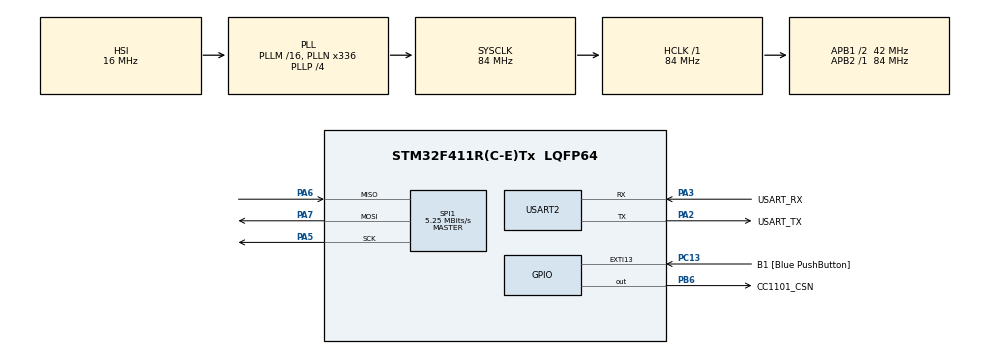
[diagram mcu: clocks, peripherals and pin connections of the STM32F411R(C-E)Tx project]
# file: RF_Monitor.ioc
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Mcu.Family=STM32F4
Mcu.Name=STM32F411R(C-E)Tx
Mcu.Package=LQFP64
NVIC.PriorityGroup=NVIC_PRIORITYGROUP_0
PA13.GPIO_Label=TMS
PA13.Mode=Serial_Wire
PA13.Signal=SYS_JTMS-SWDIO
PA14.GPIO_Label=TCK
PA14.Mode=Serial_Wire
PA14.Signal=SYS_JTCK-SWCLK
PA2.GPIO_Label=USART_TX
PA2.Mode=Asynchronous
PA2.Signal=USART2_TX
PA3.GPIO_Label=USART_RX
PA3.Mode=Asynchronous
PA3.Signal=USART2_RX
PA5.Mode=Full_Duplex_Master
PA5.Signal=SPI1_SCK
PA6.Mode=Full_Duplex_Master
PA6.Signal=SPI1_MISO
PA7.Mode=Full_Duplex_Master
PA7.Signal=SPI1_MOSI
PB3.GPIO_Label=SWO
PB3.Signal=SYS_JTDO-SWO
PB6.GPIO_Label=CC1101_CSN
PB6.PinState=GPIO_PIN_SET
PB6.Signal=GPIO_Output
PC13-ANTI_TAMP.GPIO_Label=B1 [Blue PushButton]
PC13-ANTI_TAMP.GPIO_ModeDefaultEXTI=GPIO_MODE_IT_FALLING
PC13-ANTI_TAMP.Signal=GPXTI13
PC14-OSC32_IN.Mode=LSE-External-Oscillator
PC14-OSC32_IN.Signal=RCC_OSC32_IN
PC15-OSC32_OUT.Mode=LSE-External-Oscillator
PC15-OSC32_OUT.Signal=RCC_OSC32_OUT
PH0\ -\ OSC_IN.Mode=HSE-External-Clock-Source
PH0\ -\ OSC_IN.Signal=RCC_OSC_IN
PH1\ -\ OSC_OUT.Mode=HSE-External-Clock-Source
PH1\ -\ OSC_OUT.Signal=RCC_OSC_OUT
ProjectManager.HeapSize=0x200
ProjectManager.StackSize=0x400
ProjectManager.TargetToolchain=CMake
RCC.48MHZClocksFreq_Value=84000000
RCC.AHBFreq_Value=84000000
RCC.APB1CLKDivider=RCC_HCLK_DIV2
RCC.APB1Freq_Value=42000000
RCC.APB1TimFreq_Value=84000000
RCC.APB2Freq_Value=84000000
RCC.APB2TimFreq_Value=84000000
RCC.CortexFreq_Value=84000000
RCC.FLatency-AdvancedSettings=FLASH_LATENCY_2
RCC.HCLKFreq_Value=84000000
RCC.HSE_VALUE=8000000
RCC.HSI_VALUE=16000000
RCC.PLLN=336
RCC.PLLP=RCC_PLLP_DIV4
RCC.SYSCLKFreq_VALUE=84000000
RCC.SYSCLKSource=RCC_SYSCLKSOURCE_PLLCLK
RCC.VCOOutputFreq_Value=336000000
SPI1.BaudRatePrescaler=SPI_BAUDRATEPRESCALER_16
SPI1.CalculateBaudRate=5.25 MBits/s
SPI1.Direction=SPI_DIRECTION_2LINES
SPI1.Mode=SPI_MODE_MASTER
SPI1.VirtualType=VM_MASTER
USART2.VirtualMode=VM_ASYNC
board=NUCLEO-F411RE

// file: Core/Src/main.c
/* USER CODE BEGIN Header */
/**
  ******************************************************************************
  * @file           : main.c
  * @brief          : Main program body
  ******************************************************************************
  * @attention
  *
  * Copyright (c) 2026 STMicroelectronics.
  * All rights reserved.
  *
  * This software is licensed under terms that can be found in the LICENSE file
  * in the root directory of this software component.
  * If no LICENSE file comes with this software, it is provided AS-IS.
  *
  ******************************************************************************
  */
/* USER CODE END Header */
#include "main.h"

/* USER CODE BEGIN Includes */
#include "cc1101.h"
#include <stdio.h>
#include <string.h>
/* USER CODE END Includes */

/* USER CODE BEGIN PD */
/* CC1101 modem registers used by the RSSI receiver test. */
#define CC1101_FSCTRL1       0x0BU
#define CC1101_MDMCFG4       0x10U
#define CC1101_MDMCFG3       0x11U
#define CC1101_MDMCFG2       0x12U
#define CC1101_DEVIATN       0x15U
/* USER CODE END PD */

SPI_HandleTypeDef hspi1;

UART_HandleTypeDef huart2;

void SystemClock_Config(void);
static void MX_GPIO_Init(void);
static void MX_USART2_UART_Init(void);
static void MX_SPI1_Init(void);

int main(void)
{

  /* MCU Configuration--------------------------------------------------------*/

  /* Reset of all peripherals, Initializes the Flash interface and the Systick. */
  HAL_Init();

  /* Configure the system clock */
  SystemClock_Config();

  /* Initialize all configured peripherals */
  MX_GPIO_Init();
  MX_USART2_UART_Init();
  MX_SPI1_Init();
  /* USER CODE BEGIN 2 */

static const uint8_t uart_banner[] =
    "\r\nUART2 ready at 115200 8-N-1\r\n";

HAL_UART_Transmit(
    &huart2,
    (uint8_t *)uart_banner, // Address of the message
    sizeof(uart_banner) - 1U, // Minus 1 to exclude the null terminator
    HAL_MAX_DELAY
);

// Report Buffer
char message[320];

uint8_t part_number = 0;
uint8_t version = 0;
uint8_t packet_length_before = 0;
uint8_t packet_length_after = 0;
uint8_t packet_length_restored = 0;

HAL_StatusTypeDef reset_result;
HAL_StatusTypeDef part_result;
HAL_StatusTypeDef version_result;
HAL_StatusTypeDef write_result;

reset_result = CC1101_Reset(&hspi1);

part_result = CC1101_ReadStatusRegister(
    &hspi1,
    CC1101_PARTNUM,
    &part_number
);

version_result = CC1101_ReadStatusRegister(
    &hspi1,
    CC1101_VERSION,
    &version
);

/* Verify ordinary register reading and writing. */

CC1101_ReadRegister(
    &hspi1,
    CC1101_PKTLEN,
    &packet_length_before
);

write_result = CC1101_WriteRegister(
    &hspi1,
    CC1101_PKTLEN,
    0xA5
);

CC1101_ReadRegister(
    &hspi1,
    CC1101_PKTLEN,
    &packet_length_after
);

/* Restore the reset value. */

CC1101_WriteRegister(
    &hspi1,
    CC1101_PKTLEN,
    packet_length_before
);

CC1101_ReadRegister(
    &hspi1,
    CC1101_PKTLEN,
    &packet_length_restored
);

int length = snprintf(
    message,
    sizeof(message),
    "\r\nCC1101 connection test\r\n"
    "Reset status: %d\r\n"
    "PARTNUM status: %d, value: 0x%02X\r\n"
    "VERSION status: %d, value: 0x%02X\r\n"
    "PKTLEN before: 0x%02X\r\n"
    "PKTLEN written: 0x%02X\r\n"
    "PKTLEN restored: 0x%02X\r\n"
    "Write status: %d\r\n",
    reset_result,
    part_result,
    part_number,
    version_result,
    version,
    packet_length_before,
    packet_length_after,
    packet_length_restored,
    write_result
);

if (length > 0)
{
    uint16_t transmit_length =
        (length < (int)sizeof(message))
            ? (uint16_t)length
            : (uint16_t)(sizeof(message) - 1U);

    HAL_UART_Transmit(
        &huart2,
        (uint8_t *)message,
        transmit_length,
        HAL_MAX_DELAY
    );
}
// Configure the CC1101 carrier frequency for approximately 433.92 MHz. These values assume a 26 MHz CC1101 crystal.
// Frequency = FREQ × 26 MHz / 2^16
// FREQ word = 0x10B071
HAL_StatusTypeDef receiver_result =
    CC1101_WriteRegister(
        &hspi1,
        CC1101_FREQ2,
        0x10
    );

if (receiver_result == HAL_OK)
{
    receiver_result = CC1101_WriteRegister(
        &hspi1,
        CC1101_FREQ1,
        0xB0
    );
}

if (receiver_result == HAL_OK)
{
    receiver_result = CC1101_WriteRegister(
        &hspi1,
        CC1101_FREQ0,
        0x71
    );
}

/* Match the ESP32 test transmitter's 4.8-kBaud 2-FSK settings. */
if (receiver_result == HAL_OK)
{
    receiver_result = CC1101_WriteRegister(
        &hspi1,
        CC1101_FSCTRL1,
        0x06
    );
}

if (receiver_result == HAL_OK)
{
    receiver_result = CC1101_WriteRegister(
        &hspi1,
        CC1101_MDMCFG4,
        0xA7
    );
}

if (receiver_result == HAL_OK)
{
    receiver_result = CC1101_WriteRegister(
        &hspi1,
        CC1101_MDMCFG3,
        0x83
    );
}

if (receiver_result == HAL_OK)
{
    receiver_result = CC1101_WriteRegister(
        &hspi1,
        CC1101_MDMCFG2,
        0x03
    );
}

if (receiver_result == HAL_OK)
{
    receiver_result = CC1101_WriteRegister(
        &hspi1,
        CC1101_DEVIATN,
        0x15
    );
}

// Stage 2 only measures RSSI. Use asynchronous serial mode so the packet handler and RX FIFO cannot fill with noise or unwanted packets
uint8_t packet_control = 0;

if (receiver_result == HAL_OK)
{
    receiver_result = CC1101_ReadRegister(
        &hspi1,
        CC1101_PKTCTRL0,
        &packet_control
    );
}

if (receiver_result == HAL_OK)
{
    packet_control = (packet_control & (uint8_t) ~CC1101_PKT_FORMAT_MASK) | CC1101_PKT_FORMAT_ASYNC;

    receiver_result = CC1101_WriteRegister(
        &hspi1,
        CC1101_PKTCTRL0,
        packet_control
    );
}

// Enter receive mode
if (receiver_result == HAL_OK)
{
    receiver_result = CC1101_Strobe(
        &hspi1,
        CC1101_SRX
    );
}

//Allow calibration and receiver settling
HAL_Delay(5);

int receiver_length = snprintf(
    message,
    sizeof(message),
    "433.92 MHz receiver configuration status: %d\r\n",
    receiver_result
);

if (receiver_length > 0)
{
    uint16_t receiver_transmit_length =
        receiver_length < (int)sizeof(message)
            ? (uint16_t)receiver_length
            : (uint16_t)(sizeof(message) - 1U);

    HAL_UART_Transmit(
        &huart2,
        (uint8_t *)message,
        receiver_transmit_length,
        HAL_MAX_DELAY
    );
}

  /* USER CODE END 2 */

  /* Infinite loop */
  while (1)
  {

    /* USER CODE BEGIN 3 */
    if (receiver_result == HAL_OK)
    {
        int16_t minimum_rssi_dbm = 0;
        int16_t peak_rssi_dbm = -200;
        uint8_t peak_rssi_raw = 0;
        uint8_t marcstate = 0;
        HAL_StatusTypeDef sample_result = HAL_OK;

        /*
         * Sample continuously for approximately 250 ms and report the peak.
         * This prevents a short RF packet from being missed between UART
         * print intervals.
         */
        for (uint16_t sample = 0; sample < 125; sample++)
        {
            uint8_t rssi_raw = 0;

            sample_result = CC1101_ReadStatusRegister(
                &hspi1,
                CC1101_RSSI,
                &rssi_raw
            );

            if (sample_result != HAL_OK)
            {
                break;
            }

            int16_t rssi_dbm =
                ((int16_t)(int8_t)rssi_raw / 2) - 74;

            if (sample == 0 || rssi_dbm < minimum_rssi_dbm)
            {
                minimum_rssi_dbm = rssi_dbm;
            }

            if (rssi_dbm > peak_rssi_dbm)
            {
                peak_rssi_dbm = rssi_dbm;
                peak_rssi_raw = rssi_raw;
            }

            HAL_Delay(2);
        }

        HAL_StatusTypeDef state_result =
            CC1101_ReadStatusRegister(
                &hspi1,
                CC1101_MARCSTATE,
                &marcstate
            );

        /* Only bits 4:0 contain the radio state. */
        marcstate &= 0x1FU;

        if (state_result == HAL_OK &&
            (marcstate == CC1101_STATE_IDLE ||
             marcstate == CC1101_STATE_RXFIFO_OVERFLOW))
        {
            HAL_StatusTypeDef recovery_result =
                CC1101_Strobe(
                    &hspi1,
                    CC1101_SFRX
                );

            if (recovery_result == HAL_OK)
            {
                recovery_result = CC1101_Strobe(
                    &hspi1,
                    CC1101_SRX
                );
            }

            HAL_Delay(5);
        }

        if (sample_result == HAL_OK &&
            state_result == HAL_OK)
        {
            char rssi_message[128];

            int rssi_length = snprintf(
                rssi_message,
                sizeof(rssi_message),
                "RSSI window: min %d dBm, peak %d dBm "
                "(raw 0x%02X), MARCSTATE 0x%02X%s\r\n",
                (int)minimum_rssi_dbm,
                (int)peak_rssi_dbm,
                (unsigned int)peak_rssi_raw,
                (unsigned int)marcstate,
                marcstate == CC1101_STATE_RX ? " (RX)" : " (NOT RX)"
            );

            if (rssi_length > 0)
            {
                uint16_t rssi_transmit_length =
                    rssi_length < (int)sizeof(rssi_message)
                        ? (uint16_t)rssi_length
                        : (uint16_t)(sizeof(rssi_message) - 1U);

                HAL_UART_Transmit(
                    &huart2,
                    (uint8_t *)rssi_message,
                    rssi_transmit_length,
                    HAL_MAX_DELAY
                );
            }
        }
        else
        {
            static const uint8_t read_error[] =
                "RSSI or MARCSTATE read failed\r\n";

            HAL_UART_Transmit(
                &huart2,
                (uint8_t *)read_error,
                sizeof(read_error) - 1U,
                HAL_MAX_DELAY
            );
        }
    }
  }
  /* USER CODE END 3 */
}
void SystemClock_Config(void)
{
  RCC_OscInitTypeDef RCC_OscInitStruct = {0};
  RCC_ClkInitTypeDef RCC_ClkInitStruct = {0};

  /** Configure the main internal regulator output voltage
  */
  __HAL_RCC_PWR_CLK_ENABLE();
  __HAL_PWR_VOLTAGESCALING_CONFIG(PWR_REGULATOR_VOLTAGE_SCALE1);

  /** Initializes the RCC Oscillators according to the specified parameters
  * in the RCC_OscInitTypeDef structure.
  */
  RCC_OscInitStruct.OscillatorType = RCC_OSCILLATORTYPE_HSI;
  RCC_OscInitStruct.HSIState = RCC_HSI_ON;
  RCC_OscInitStruct.HSICalibrationValue = RCC_HSICALIBRATION_DEFAULT;
  RCC_OscInitStruct.PLL.PLLState = RCC_PLL_ON;
  RCC_OscInitStruct.PLL.PLLSource = RCC_PLLSOURCE_HSI;
  RCC_OscInitStruct.PLL.PLLM = 16;
  RCC_OscInitStruct.PLL.PLLN = 336;
  RCC_OscInitStruct.PLL.PLLP = RCC_PLLP_DIV4;
  RCC_OscInitStruct.PLL.PLLQ = 4;
  if (HAL_RCC_OscConfig(&RCC_OscInitStruct) != HAL_OK)
  {
    Error_Handler();
  }

  /** Initializes the CPU, AHB and APB buses clocks
  */
  RCC_ClkInitStruct.ClockType = RCC_CLOCKTYPE_HCLK|RCC_CLOCKTYPE_SYSCLK
                              |RCC_CLOCKTYPE_PCLK1|RCC_CLOCKTYPE_PCLK2;
  RCC_ClkInitStruct.SYSCLKSource = RCC_SYSCLKSOURCE_PLLCLK;
  RCC_ClkInitStruct.AHBCLKDivider = RCC_SYSCLK_DIV1;
  RCC_ClkInitStruct.APB1CLKDivider = RCC_HCLK_DIV2;
  RCC_ClkInitStruct.APB2CLKDivider = RCC_HCLK_DIV1;

  if (HAL_RCC_ClockConfig(&RCC_ClkInitStruct, FLASH_LATENCY_2) != HAL_OK)
  {
    Error_Handler();
  }
}

static void MX_SPI1_Init(void)
{

  /* SPI1 parameter configuration*/
  hspi1.Instance = SPI1;
  hspi1.Init.Mode = SPI_MODE_MASTER;
  hspi1.Init.Direction = SPI_DIRECTION_2LINES;
  hspi1.Init.DataSize = SPI_DATASIZE_8BIT;
  hspi1.Init.CLKPolarity = SPI_POLARITY_LOW;
  hspi1.Init.CLKPhase = SPI_PHASE_1EDGE;
  hspi1.Init.NSS = SPI_NSS_SOFT;
  hspi1.Init.BaudRatePrescaler = SPI_BAUDRATEPRESCALER_16;
  hspi1.Init.FirstBit = SPI_FIRSTBIT_MSB;
  hspi1.Init.TIMode = SPI_TIMODE_DISABLE;
  hspi1.Init.CRCCalculation = SPI_CRCCALCULATION_DISABLE;
  hspi1.Init.CRCPolynomial = 10;
  if (HAL_SPI_Init(&hspi1) != HAL_OK)
  {
    Error_Handler();
  }

}

static void MX_USART2_UART_Init(void)
{

  huart2.Instance = USART2;
  huart2.Init.BaudRate = 115200;
  huart2.Init.WordLength = UART_WORDLENGTH_8B;
  huart2.Init.StopBits = UART_STOPBITS_1;
  huart2.Init.Parity = UART_PARITY_NONE;
  huart2.Init.Mode = UART_MODE_TX_RX;
  huart2.Init.HwFlowCtl = UART_HWCONTROL_NONE;
  huart2.Init.OverSampling = UART_OVERSAMPLING_16;
  if (HAL_UART_Init(&huart2) != HAL_OK)
  {
    Error_Handler();
  }

}

static void MX_GPIO_Init(void)
{
  GPIO_InitTypeDef GPIO_InitStruct = {0};

  /* GPIO Ports Clock Enable */
  __HAL_RCC_GPIOC_CLK_ENABLE();
  __HAL_RCC_GPIOH_CLK_ENABLE();
  __HAL_RCC_GPIOA_CLK_ENABLE();
  __HAL_RCC_GPIOB_CLK_ENABLE();

  /*Configure GPIO pin Output Level */
  HAL_GPIO_WritePin(CC1101_CSN_GPIO_Port, CC1101_CSN_Pin, GPIO_PIN_SET);

  /*Configure GPIO pin : B1_Pin */
  GPIO_InitStruct.Pin = B1_Pin;
  GPIO_InitStruct.Mode = GPIO_MODE_IT_FALLING;
  GPIO_InitStruct.Pull = GPIO_NOPULL;
  HAL_GPIO_Init(B1_GPIO_Port, &GPIO_InitStruct);

  /*Configure GPIO pin : CC1101_CSN_Pin */
  GPIO_InitStruct.Pin = CC1101_CSN_Pin;
  GPIO_InitStruct.Mode = GPIO_MODE_OUTPUT_PP;
  GPIO_InitStruct.Pull = GPIO_NOPULL;
  GPIO_InitStruct.Speed = GPIO_SPEED_FREQ_LOW;
  HAL_GPIO_Init(CC1101_CSN_GPIO_Port, &GPIO_InitStruct);

}

void Error_Handler(void)
{
  __disable_irq();
  while (1)
  {
  }
}
